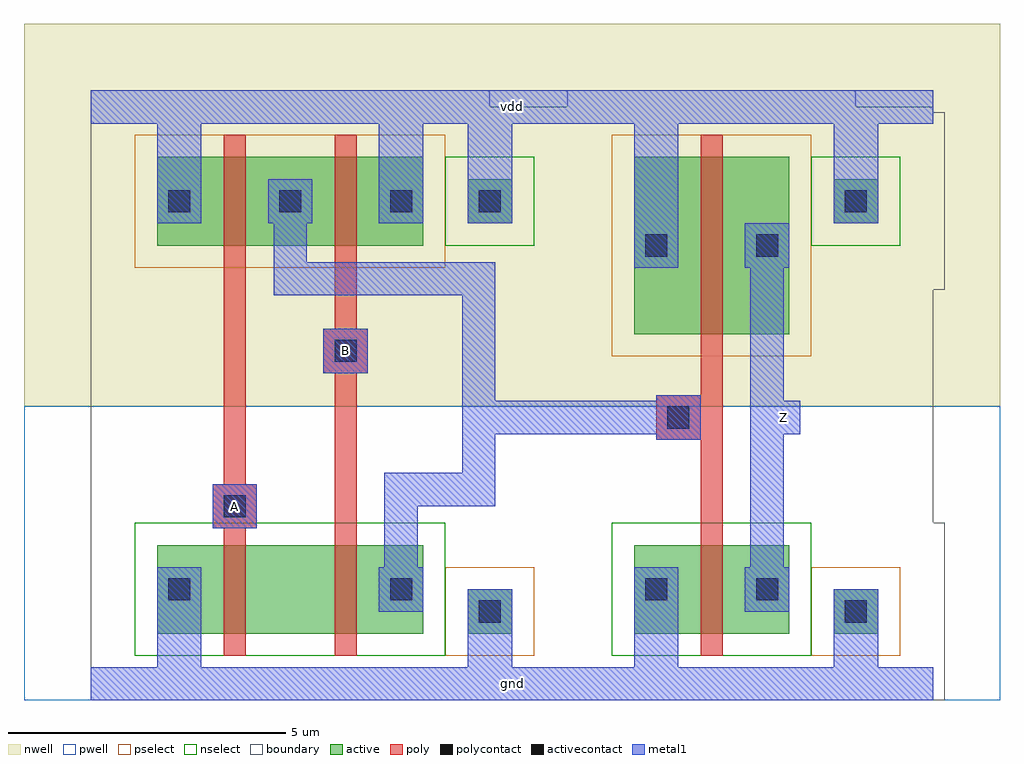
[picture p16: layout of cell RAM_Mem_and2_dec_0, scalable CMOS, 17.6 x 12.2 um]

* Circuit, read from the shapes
.subckt RAM_Mem_and2_dec_0 A B Z gnd vdd
M1 RAM_Mem_pnand2_0/RAM_Mem_nmos_m1_w1_600_sm1_dactive_2/D A gnd gnd nfet w=1.6u l=0.4u
M2 RAM_Mem_pinv_0_1/A B RAM_Mem_pnand2_0/RAM_Mem_nmos_m1_w1_600_sm1_dactive_2/D gnd nfet w=1.6u l=0.4u
M3 Z RAM_Mem_pinv_0_1/A gnd gnd nfet w=1.6u l=0.4u
M4 RAM_Mem_pinv_0_1/A A vdd vdd pfet w=1.6u l=0.4u
M5 vdd B RAM_Mem_pinv_0_1/A vdd pfet w=1.6u l=0.4u
M6 Z RAM_Mem_pinv_0_1/A vdd vdd pfet w=3.2u l=0.4u
.ends

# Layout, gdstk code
import gdstk
lib = gdstk.Library(unit=1e-6, precision=1e-09)
def R(c, l, rs):  # rectangles x0, y0, x1, y1
    for r in rs: c.add(gdstk.rectangle(r[:2], r[2:], *l))
pwell = (41, 0)
nwell = (42, 0)
active = (43, 0)
pselect = (44, 0)
nselect = (45, 0)
poly = (46, 0)
polycontact = (47, 0)
activecontact = (48, 0)
metal1 = (49, 0)
boundary = (63, 0)

ram_mem_contact_12 = lib.new_cell('RAM_Mem_contact_12')
R(ram_mem_contact_12, nwell, [(-1.2,-1.2,2,2)])
R(ram_mem_contact_12, active, [(0,0,0.8,0.8)])
R(ram_mem_contact_12, pselect, [(-0.4,-0.4,1.2,1.2)])
R(ram_mem_contact_12, activecontact, [(0.2,0.2,0.6,0.6)])
R(ram_mem_contact_12, metal1, [(0,0,0.8,0.8)])
R(ram_mem_contact_12, boundary, [(-1.2,-1.2,2,2)])

ram_mem_pmos_m1_w1_600_s = lib.new_cell('RAM_Mem_pmos_m1_w1_600_sm1_dm1')
R(ram_mem_pmos_m1_w1_600_s, nwell, [(-1.2,-1.2,4,2.8)])
R(ram_mem_pmos_m1_w1_600_s, active, [(0,0,2.8,1.6)])
R(ram_mem_pmos_m1_w1_600_s, pselect, [(-0.4,-0.4,3.2,2)])
R(ram_mem_pmos_m1_w1_600_s, poly, [(1.2,-0.4,1.6,2), (1.2,-0.4,1.6,2)])
R(ram_mem_pmos_m1_w1_600_s, metal1, [(0,0.4,0.8,1.2), (2,0.4,2.8,1.2)])
R(ram_mem_pmos_m1_w1_600_s, boundary, [(-1.2,-1.2,4,2.8)])
ram_mem_pmos_m1_w1_600_s.add(gdstk.Reference(ram_mem_contact_12, (0,0.4)))
ram_mem_pmos_m1_w1_600_s.add(gdstk.Reference(ram_mem_contact_12, (2,0.4)))
ram_mem_pmos_m1_w1_600_s.add(gdstk.Label('G', (1.4,0.8), layer=46, texttype=0))
ram_mem_pmos_m1_w1_600_s.add(gdstk.Label('S', (0.4,0.8), layer=49, texttype=0))
ram_mem_pmos_m1_w1_600_s.add(gdstk.Label('D', (2.4,0.8), layer=49, texttype=0))

ram_mem_contact_11 = lib.new_cell('RAM_Mem_contact_11')
R(ram_mem_contact_11, pwell, [(-1.2,-1.2,2,2)])
R(ram_mem_contact_11, active, [(0,0,0.8,0.8)])
R(ram_mem_contact_11, nselect, [(-0.4,-0.4,1.2,1.2)])
R(ram_mem_contact_11, activecontact, [(0.2,0.2,0.6,0.6)])
R(ram_mem_contact_11, metal1, [(0,0,0.8,0.8)])
R(ram_mem_contact_11, boundary, [(-1.2,-1.2,2,2)])

ram_mem_nmos_m1_w1_600_s = lib.new_cell('RAM_Mem_nmos_m1_w1_600_sm1_dactive')
R(ram_mem_nmos_m1_w1_600_s, pwell, [(-1.2,-1.2,4,2.8)])
R(ram_mem_nmos_m1_w1_600_s, active, [(0,0,2.8,1.6), (2.1,0.5,2.7,1.1)])
R(ram_mem_nmos_m1_w1_600_s, nselect, [(-0.4,-0.4,3.2,2)])
R(ram_mem_nmos_m1_w1_600_s, poly, [(1.2,-0.4,1.6,2), (1.2,-0.4,1.6,2)])
R(ram_mem_nmos_m1_w1_600_s, metal1, [(0,0.4,0.8,1.2)])
R(ram_mem_nmos_m1_w1_600_s, boundary, [(-1.2,-1.2,4,2.8)])
ram_mem_nmos_m1_w1_600_s.add(gdstk.Reference(ram_mem_contact_11, (0,0.4)))
ram_mem_nmos_m1_w1_600_s.add(gdstk.Label('G', (1.4,0.8), layer=46, texttype=0))
ram_mem_nmos_m1_w1_600_s.add(gdstk.Label('S', (0.4,0.8), layer=49, texttype=0))
ram_mem_nmos_m1_w1_600_s.add(gdstk.Label('D', (2.4,0.8), layer=43, texttype=0))

c_ram_mem_nmos_m1_w1_600_s = lib.new_cell('RAM_Mem_nmos_m1_w1_600_sactive_dm1')
R(c_ram_mem_nmos_m1_w1_600_s, pwell, [(-1.2,-1.2,4,2.8)])
R(c_ram_mem_nmos_m1_w1_600_s, active, [(0,0,2.8,1.6), (0.1,0.5,0.7,1.1)])
R(c_ram_mem_nmos_m1_w1_600_s, nselect, [(-0.4,-0.4,3.2,2)])
R(c_ram_mem_nmos_m1_w1_600_s, poly, [(1.2,-0.4,1.6,2), (1.2,-0.4,1.6,2)])
R(c_ram_mem_nmos_m1_w1_600_s, metal1, [(2,0.4,2.8,1.2)])
R(c_ram_mem_nmos_m1_w1_600_s, boundary, [(-1.2,-1.2,4,2.8)])
c_ram_mem_nmos_m1_w1_600_s.add(gdstk.Reference(ram_mem_contact_11, (2,0.4)))
c_ram_mem_nmos_m1_w1_600_s.add(gdstk.Label('G', (1.4,0.8), layer=46, texttype=0))
c_ram_mem_nmos_m1_w1_600_s.add(gdstk.Label('S', (0.4,0.8), layer=43, texttype=0))
c_ram_mem_nmos_m1_w1_600_s.add(gdstk.Label('D', (2.4,0.8), layer=49, texttype=0))

ram_mem_contact_13 = lib.new_cell('RAM_Mem_contact_13')
R(ram_mem_contact_13, nwell, [(-1.2,-1.2,2,2)])
R(ram_mem_contact_13, active, [(0,0,0.8,0.8)])
R(ram_mem_contact_13, nselect, [(-0.4,-0.4,1.2,1.2)])
R(ram_mem_contact_13, activecontact, [(0.2,0.2,0.6,0.6)])
R(ram_mem_contact_13, metal1, [(0,0,0.8,0.8)])
R(ram_mem_contact_13, boundary, [(-1.2,-1.2,2,2)])

ram_mem_contact_14 = lib.new_cell('RAM_Mem_contact_14')
R(ram_mem_contact_14, pwell, [(-1.2,-1.2,2,2)])
R(ram_mem_contact_14, active, [(0,0,0.8,0.8)])
R(ram_mem_contact_14, pselect, [(-0.4,-0.4,1.2,1.2)])
R(ram_mem_contact_14, activecontact, [(0.2,0.2,0.6,0.6)])
R(ram_mem_contact_14, metal1, [(0,0,0.8,0.8)])
R(ram_mem_contact_14, boundary, [(-1.2,-1.2,2,2)])

ram_mem_contact_15 = lib.new_cell('RAM_Mem_contact_15')
R(ram_mem_contact_15, poly, [(0,0,0.8,0.8)])
R(ram_mem_contact_15, polycontact, [(0.2,0.2,0.6,0.6)])
R(ram_mem_contact_15, metal1, [(0,0,0.8,0.8)])
R(ram_mem_contact_15, boundary, [(0,0,0.8,0.8)])

ram_mem_pnand2 = lib.new_cell('RAM_Mem_pnand2')
R(ram_mem_pnand2, pwell, [(-1.2,-0.3,9.8,5)])
R(ram_mem_pnand2, nwell, [(-1.2,5,9.8,11.9)])
R(ram_mem_pnand2, poly, [(2.4,2.8,2.6,3.6), (2.4,2.9,2.8,7.5), (4.4,2.9,4.8,7.5), (4.4,5.6,4.6,6.4)])
R(ram_mem_pnand2, metal1, [(0,-0.3,8.6,0.3), (1.2,-0.3,2,1.3), (6.8,0,7.6,1.3), (5.3,2.1,5.9,3.5), (2.2,2.8,3,3.6), (5.3,3.2,5.9,3.8), (5.6,3.2,7,3.8), (6.7,3.2,7.3,3.8), (6.7,3.5,7.3,7.3), (4.2,5.6,5,6.4), (3.3,7,3.9,7.6), (3.6,7,7,7.6), (6.7,7,7.3,7.6), (3.3,7.3,3.9,8.3), (1.2,8.3,2,10.7), (5.2,8.3,6,10.7), (6.8,8.7,7.6,10.4), (0,10.1,8.6,10.7)])
R(ram_mem_pnand2, boundary, [(0,0,8.6,10.4), (0,0,8.6,10.4)])
ram_mem_pnand2.add(gdstk.Reference(ram_mem_pmos_m1_w1_600_s, (1.2,7.9)))
ram_mem_pnand2.add(gdstk.Reference(ram_mem_pmos_m1_w1_600_s, (3.2,7.9)))
ram_mem_pnand2.add(gdstk.Reference(ram_mem_nmos_m1_w1_600_s, (1.2,0.9)))
ram_mem_pnand2.add(gdstk.Reference(c_ram_mem_nmos_m1_w1_600_s, (3.2,0.9)))
ram_mem_pnand2.add(gdstk.Reference(ram_mem_contact_13, (6.8,8.3)))
ram_mem_pnand2.add(gdstk.Reference(ram_mem_contact_14, (6.8,0.9)))
ram_mem_pnand2.add(gdstk.Reference(ram_mem_contact_15, (2.2,2.8)))
ram_mem_pnand2.add(gdstk.Reference(ram_mem_contact_15, (4.2,5.6)))
ram_mem_pnand2.add(gdstk.Label('Z', (7,7.3), layer=49, texttype=0))
ram_mem_pnand2.add(gdstk.Label('gnd', (4.3,0), layer=49, texttype=0))
ram_mem_pnand2.add(gdstk.Label('vdd', (4.3,10.4), layer=49, texttype=0))
ram_mem_pnand2.add(gdstk.Label('A', (2.6,3.2), layer=49, texttype=0))
ram_mem_pnand2.add(gdstk.Label('B', (4.6,6), layer=49, texttype=0))

ram_mem_pmos_m1_w3_200_s = lib.new_cell('RAM_Mem_pmos_m1_w3_200_sm1_dm1_da_p')
R(ram_mem_pmos_m1_w3_200_s, nwell, [(-1.2,-1.2,4,4.4)])
R(ram_mem_pmos_m1_w3_200_s, active, [(0,0,2.8,3.2)])
R(ram_mem_pmos_m1_w3_200_s, pselect, [(-0.4,-0.4,3.2,3.6)])
R(ram_mem_pmos_m1_w3_200_s, poly, [(1.2,-0.4,1.6,3.6), (1.2,-0.4,1.6,3.6)])
R(ram_mem_pmos_m1_w3_200_s, metal1, [(0,1.2,0.8,2), (2,1.2,2.8,2)])
R(ram_mem_pmos_m1_w3_200_s, boundary, [(-1.2,-1.2,4,4.4)])
ram_mem_pmos_m1_w3_200_s.add(gdstk.Reference(ram_mem_contact_12, (0,1.2)))
ram_mem_pmos_m1_w3_200_s.add(gdstk.Reference(ram_mem_contact_12, (2,1.2)))
ram_mem_pmos_m1_w3_200_s.add(gdstk.Label('G', (1.4,1.6), layer=46, texttype=0))
ram_mem_pmos_m1_w3_200_s.add(gdstk.Label('S', (0.4,1.6), layer=49, texttype=0))
ram_mem_pmos_m1_w3_200_s.add(gdstk.Label('D', (2.4,1.6), layer=49, texttype=0))

c_ram_mem_nmos_m1_w1_600_s_ = lib.new_cell('RAM_Mem_nmos_m1_w1_600_sm1_dm1_da_p')
R(c_ram_mem_nmos_m1_w1_600_s_, pwell, [(-1.2,-1.2,4,2.8)])
R(c_ram_mem_nmos_m1_w1_600_s_, active, [(0,0,2.8,1.6)])
R(c_ram_mem_nmos_m1_w1_600_s_, nselect, [(-0.4,-0.4,3.2,2)])
R(c_ram_mem_nmos_m1_w1_600_s_, poly, [(1.2,-0.4,1.6,2), (1.2,-0.4,1.6,2)])
R(c_ram_mem_nmos_m1_w1_600_s_, metal1, [(0,0.4,0.8,1.2), (2,0.4,2.8,1.2)])
R(c_ram_mem_nmos_m1_w1_600_s_, boundary, [(-1.2,-1.2,4,2.8)])
c_ram_mem_nmos_m1_w1_600_s_.add(gdstk.Reference(ram_mem_contact_11, (0,0.4)))
c_ram_mem_nmos_m1_w1_600_s_.add(gdstk.Reference(ram_mem_contact_11, (2,0.4)))
c_ram_mem_nmos_m1_w1_600_s_.add(gdstk.Label('G', (1.4,0.8), layer=46, texttype=0))
c_ram_mem_nmos_m1_w1_600_s_.add(gdstk.Label('S', (0.4,0.8), layer=49, texttype=0))
c_ram_mem_nmos_m1_w1_600_s_.add(gdstk.Label('D', (2.4,0.8), layer=49, texttype=0))

ram_mem_pinv_0 = lib.new_cell('RAM_Mem_pinv_0')
R(ram_mem_pinv_0, pwell, [(-1.2,-0.3,7.8,5)])
R(ram_mem_pinv_0, nwell, [(-1.2,5,7.8,11.9)])
R(ram_mem_pinv_0, poly, [(2.4,2.9,2.8,5.9), (2,4.4,2.4,5.2)])
R(ram_mem_pinv_0, metal1, [(0,-0.3,6.6,0.3), (1.2,-0.3,2,1.3), (4.8,0,5.6,1.3), (3.3,1.3,3.9,8.3), (1.6,4.4,2.4,5.2), (3.6,4.5,4.2,5.1), (1.2,7.5,2,10.7), (4.8,8.7,5.6,10.4), (0,10.1,6.6,10.7)])
R(ram_mem_pinv_0, boundary, [(0,0,6.6,10.4), (0,0,6.6,10.4)])
ram_mem_pinv_0.add(gdstk.Reference(ram_mem_pmos_m1_w3_200_s, (1.2,6.3)))
ram_mem_pinv_0.add(gdstk.Reference(c_ram_mem_nmos_m1_w1_600_s_, (1.2,0.9)))
ram_mem_pinv_0.add(gdstk.Reference(ram_mem_contact_13, (4.8,8.3)))
ram_mem_pinv_0.add(gdstk.Reference(ram_mem_contact_14, (4.8,0.9)))
ram_mem_pinv_0.add(gdstk.Reference(ram_mem_contact_15, (1.6,4.4)))
ram_mem_pinv_0.add(gdstk.Label('A', (2,4.8), layer=49, texttype=0))
ram_mem_pinv_0.add(gdstk.Label('Z', (3.9,4.8), layer=49, texttype=0))
ram_mem_pinv_0.add(gdstk.Label('gnd', (3.3,0), layer=49, texttype=0))
ram_mem_pinv_0.add(gdstk.Label('vdd', (3.3,10.4), layer=49, texttype=0))

ram_mem_and2_dec_0 = lib.new_cell('RAM_Mem_and2_dec_0')
R(ram_mem_and2_dec_0, metal1, [(0,-0.3,15.2,0.3), (2.2,2.8,3,3.6), (6.7,4.5,7.3,5.1), (7,4.5,10.6,5.1), (12.2,4.5,12.8,5.1), (6.7,4.8,7.3,7.3), (4.2,5.6,5,6.4), (0,10.1,15.2,10.7)])
R(ram_mem_and2_dec_0, boundary, [(0,0,15.2,10.4)])
ram_mem_and2_dec_0.add(gdstk.Reference(ram_mem_pnand2, (0,0)))
ram_mem_and2_dec_0.add(gdstk.Reference(ram_mem_pinv_0, (8.6,0)))
ram_mem_and2_dec_0.add(gdstk.Label('Z', (12.5,4.8), layer=49, texttype=0))
ram_mem_and2_dec_0.add(gdstk.Label('A', (2.6,3.2), layer=49, texttype=0))
ram_mem_and2_dec_0.add(gdstk.Label('B', (4.6,6), layer=49, texttype=0))
ram_mem_and2_dec_0.add(gdstk.Label('gnd', (7.6,0), layer=49, texttype=0))
ram_mem_and2_dec_0.add(gdstk.Label('vdd', (7.6,10.4), layer=49, texttype=0))

lib.write_gds('RAM_Mem_and2_dec_0.gds')
